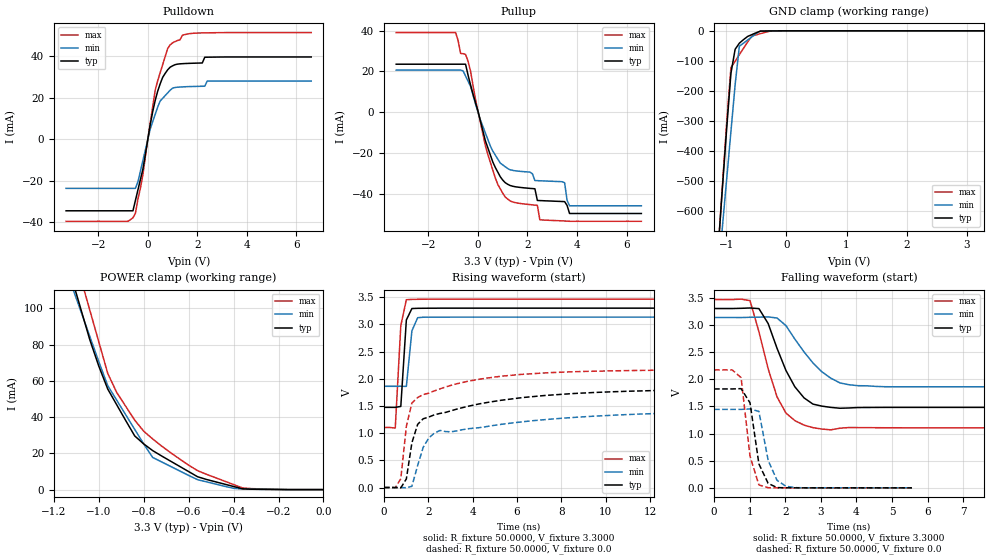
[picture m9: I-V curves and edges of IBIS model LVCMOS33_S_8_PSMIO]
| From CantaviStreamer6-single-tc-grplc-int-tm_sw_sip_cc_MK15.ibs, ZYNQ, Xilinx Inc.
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[Model]  LVCMOS33_S_8_PSMIO
Model_type I/O
Polarity   Non-Inverting
Enable   Active-Low
Vinl = 0.8
Vinh = 2.0
Vmeas =  1.6500V
Cref =   0.0F
Rref =   1.0000M
Vref =   0.0V
C_comp   2.5pF   2.49pF   2.5pF
[Temperature Range]   25.0000   85.0000   0.0
[Voltage Range]   3.3000V   3.1350V   3.46500V
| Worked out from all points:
|   slope of the pulldown table from 0 to 0.495 V, typ, clamps not added: 18.6 ohm
|   slope of the pullup table from 0 to 0.495 V, typ, clamps not added: 23.2 ohm
|   GND clamp passes 1 mA (typ) near -0.43 V on its own axis
|   POWER clamp passes 1 mA (typ) near -0.38 V on its own axis
|   rising waveform, R_fixture 50.0000, V_fixture 3.3000: 20-80 % time 172ps typ, 187ps min, 194ps max; typ from 1.48 V to 3.3 V
|   rising waveform, R_fixture 50.0000, V_fixture 0.0: 20-80 % time 2.33ns typ, 3.6ns min, 1.19ns max; typ from 0 V to 1.82 V
|   falling waveform, R_fixture 50.0000, V_fixture 3.3000: 20-80 % time 722ps typ, 948ps min, 643ps max; typ from 3.3 V to 1.48 V
|   falling waveform, R_fixture 50.0000, V_fixture 0.0: 20-80 % time 281ps typ, 335ps min, 270ps max; typ from 1.82 V to 0 V
[Pulldown]
|Voltage   I(typ)   I(min)   I(max)
-3.3V     -34.48mA   -23.66mA   -39.54mA
-600mV    -34.48mA   -23.66mA   -37.87mA
-400mV    -24.48mA   -20.53mA   -28.91mA
-200mV    -14.52mA   -10.36mA   -17.21mA
300mV     18.76mA    12.05mA    23.72mA
600mV     29.82mA    19.73mA    35.96mA
800mV     33.43mA    22.31mA    43.66mA
1V        35.39mA    24.65mA    46.47mA
1.8V      36.63mA    25.42mA    51.05mA
2.3V      39.53mA    25.57mA    51.27mA
2.4V      39.55mA    28.06mA    51.29mA
6.6V      39.65mA    28.06mA    51.42mA
[Pullup]
|Voltage   I(typ)   I(min)   I(max)
-3.3V     23.51mA    20.65mA    38.99mA
-900mV    23.51mA    20.65mA    38.99mA
-700mV    23.51mA    20.65mA    28.77mA
-500mV    23.51mA    17.74mA    28.34mA
300mV     -13.93mA   -10.13mA   -16.34mA
700mV     -26.97mA   -20.93mA   -32.05mA
1.3V      -35.84mA   -28.16mA   -43.42mA
2.4V      -43.16mA   -33.47mA   -45.54mA
2.5V      -43.22mA   -33.53mA   -52.66mA
3.5V      -43.73mA   -34.48mA   -53.21mA
3.7V      -49.54mA   -45.76mA   -53.36mA
6.6V      -49.54mA   -45.76mA   -53.36mA
[GND_clamp]
|Voltage   I(typ)   I(min)   I(max)
-3.3V     -22.09A    -20.54A    -23.08A
-1.13V    -720.8mA   -823mA     -721.1mA
-1.06V    -519.2mA   -649.8mA   -513mA
-990mV    -324mA     -492.9mA   -305mA
-920mV    -141.8mA   -336mA     -123mA
-850mV    -61.46mA   -179mA     -101.4mA
-780mV    -41.22mA   -51.44mA   -79.68mA
-640mV    -18.45mA   -30.35mA   -36.31mA
-570mV    -12.44mA   -19.81mA   -17.13mA
-430mV    -899.2uA   -798.8uA   -9.486mA
-220mV    -277uA     -299.6uA   -9.069uA
3.28V     572.8nA    1.414uA    4.977nA
[POWER_clamp]
|Voltage   I(typ)   I(min)   I(max)
-3.28V    23.58A     21.83A     24.68A
-1.12V    116.7mA    112.5mA    134.2mA
-1.08V    99.74mA    98.56mA    116.6mA
-1.04V    82.77mA    84.62mA    99.13mA
-1V       68.2mA     70.67mA    81.62mA
-960mV    55.49mA    57.38mA    64.11mA
-920mV    46.79mA    49.33mA    53.59mA
-840mV    29.62mA    33.23mA    38.33mA
-760mV    21.52mA    17.74mA    27.97mA
-560mV    7.082mA    5.47mA     10.45mA
-360mV    431.4uA    316.9uA    906.9uA
0V        5.965nA    55.93nA    7.234nA
[Ramp]
| variable   typ   min   max
dV/dt_r  1.0920/2.3024n   0.8604/3.5646n   1.3026/1.1840n
dV/dt_f  1.089/0.8191n   0.765/1.1144n   1.4160/0.6335n
R_load = 50.0000
[Rising Waveform]
R_fixture= 50.0000
V_fixture= 3.3000
V_fixture_min= 3.1350
V_fixture_max= 3.4500
|time   V(typ)   V(min)   V(max)
0s        1.475V     1.862V     1.105V
510ps     1.474V     1.862V     1.093V
760ps     1.492V     1.863V     2.977V
1.01ns    3.081V     1.86V      3.454V
1.26ns    3.292V     2.881V     3.46V
1.52ns    3.296V     3.123V     3.462V
1.77ns    3.297V     3.132V     3.463V
3.03ns    3.299V     3.134V     3.464V
20.96ns   3.3V       3.135V     3.465V
[Rising Waveform]
R_fixture= 50.0000
V_fixture= 0.0
|time   V(typ)   V(min)   V(max)
0s        0V         0V         0V
510ps     0V         -145.1uV   -4.216mV
760ps     -6.003mV   408.8uV    161.3mV
1.01ns    158.8mV    -3.951mV   1.124V
1.26ns    822.8mV    23.12mV    1.555V
1.52ns    1.162V     406.2mV    1.654V
2.02ns    1.296V     909.9mV    1.736V
3.79ns    1.494V     1.081V     1.955V
10.35ns   1.762V     1.331V     2.146V
25ns      1.82V      1.434V     2.171V
[Falling Waveform]
R_fixture= 50.0000
V_fixture= 3.3000
V_fixture_min= 3.1350
V_fixture_max= 3.4500
|time   V(typ)   V(min)   V(max)
0s        3.3V       3.135V     3.465V
1.01ns    3.31V      3.139V     3.445V
1.26ns    3.299V     3.141V     2.874V
1.52ns    3.024V     3.146V     2.191V
1.77ns    2.568V     3.125V     1.674V
2.27ns    1.86V      2.738V     1.238V
2.78ns    1.541V     2.298V     1.108V
3.54ns    1.465V     1.931V     1.098V
4.04ns    1.478V     1.88V      1.109V
15.66ns   1.48V      1.86V      1.105V
[Falling Waveform]
R_fixture= 50.0000
V_fixture= 0.0
|time   V(typ)   V(min)   V(max)
0s        1.82V      1.444V     2.17V
510ps     1.82V      1.444V     2.17V
760ps     1.826V     1.444V     2.028V
1.01ns    1.565V     1.452V     583.4mV
1.26ns    440.6mV    1.407V     53.89mV
1.52ns    82.43mV    505.8mV    2.309mV
1.77ns    4.967mV    138.1mV    773.8uV
2.02ns    1.103mV    29.63mV    400.7uV
2.53ns    370.6uV    1.417mV    140.3uV
5.56ns    0V         0V         0V
